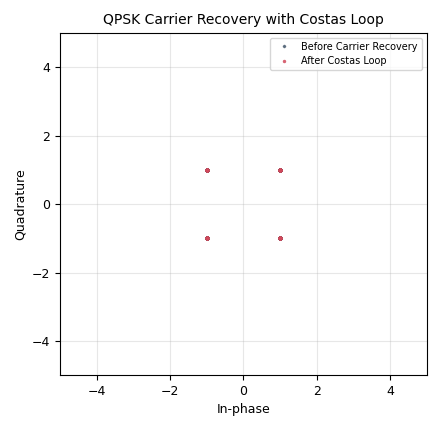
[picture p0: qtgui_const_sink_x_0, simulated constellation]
options:
  parameters:
    generate_options: qt_gui
    id: exp8
    output_language: python
    title: QPSK Carrier Recovery with Costas Loop (with noise)
  states: {}

blocks:
- name: loop_bw
  id: variable
  parameters:
    value: math.pi/100
  states: {}
- name: noise_amp
  id: variable_qtgui_range
  parameters:
    label: Noise Amplitude
    start: '0'
    step: '0.1'
    stop: '2'
    value: '0'
  states: {}
- name: phase_offset
  id: variable_qtgui_range
  parameters:
    label: Carrier Phase Offset (deg)
    start: '-180'
    step: '5'
    stop: '180'
    value: '0'
  states: {}
- name: samp_rate
  id: variable
  parameters:
    value: '32000'
  states: {}
- name: analog_noise_source_x_0
  id: analog_noise_source_x
  parameters:
    amp: noise_amp
    noise_type: analog.GR_GAUSSIAN
    seed: '0'
    type: complex
  states: {}
- name: analog_random_source_x_0
  id: analog_random_source_x
  parameters:
    max: '2'
    min: '0'
    num_samps: '1000'
    repeat: 'True'
    type: byte
  states: {}
- name: analog_random_source_x_0_0
  id: analog_random_source_x
  parameters:
    max: '2'
    min: '0'
    num_samps: '1000'
    repeat: 'True'
    type: byte
  states: {}
- name: blocks_add_xx_0
  id: blocks_add_xx
  parameters:
    type: complex
  states: {}
- name: blocks_float_to_complex_0
  id: blocks_float_to_complex
  parameters: {}
  states: {}
- name: blocks_multiply_const_vxx_0
  id: blocks_multiply_const_vxx
  parameters:
    const: np.exp(1j*math.radians(phase_offset))
    type: complex
  states: {}
- name: blocks_throttle2_0
  id: blocks_throttle2
  parameters:
    samples_per_second: samp_rate
    type: complex
  states: {}
- name: digital_chunks_to_symbols_xx_0
  id: digital_chunks_to_symbols_xx
  parameters:
    dimension: '1'
    in_type: byte
    out_type: float
    symbol_table: '[-1,1]'
  states: {}
- name: digital_chunks_to_symbols_xx_0_0
  id: digital_chunks_to_symbols_xx
  parameters:
    dimension: '1'
    in_type: byte
    out_type: float
    symbol_table: '[-1,1]'
  states: {}
- name: digital_costas_loop_cc_0
  id: digital_costas_loop_cc
  parameters:
    order: '4'
    w: loop_bw
  states: {}
- name: import_0
  id: import
  parameters:
    imports: import math
  states: {}
- name: import_0_0
  id: import
  parameters:
    imports: import numpy as np
  states: {}
- name: qtgui_const_sink_x_0
  id: qtgui_const_sink_x
  parameters:
    grid: 'True'
    label1: Before Carrier Recovery
    label2: After Costas Loop
    name: QPSK Carrier Recovery with Costas Loop
    nconnections: '2'
    size: '1024'
    type: complex
    width1: '5'
    width2: '5'
    xmax: '5'
    xmin: '-5'
    ymax: '5'
    ymin: '-5'
  states: {}

connections:
- [analog_noise_source_x_0, '0', blocks_add_xx_0, '1']
- [analog_random_source_x_0, '0', digital_chunks_to_symbols_xx_0, '0']
- [analog_random_source_x_0_0, '0', digital_chunks_to_symbols_xx_0_0, '0']
- [blocks_add_xx_0, '0', digital_costas_loop_cc_0, '0']
- [blocks_float_to_complex_0, '0', blocks_throttle2_0, '0']
- [blocks_multiply_const_vxx_0, '0', qtgui_const_sink_x_0, '0']
- [blocks_throttle2_0, '0', blocks_add_xx_0, '0']
- [blocks_throttle2_0, '0', blocks_multiply_const_vxx_0, '0']
- [digital_chunks_to_symbols_xx_0, '0', blocks_float_to_complex_0, '0']
- [digital_chunks_to_symbols_xx_0_0, '0', blocks_float_to_complex_0, '1']
- [digital_costas_loop_cc_0, '0', qtgui_const_sink_x_0, '1']

metadata:
  file_format: 1
  grc_version: 3.10.12.0
